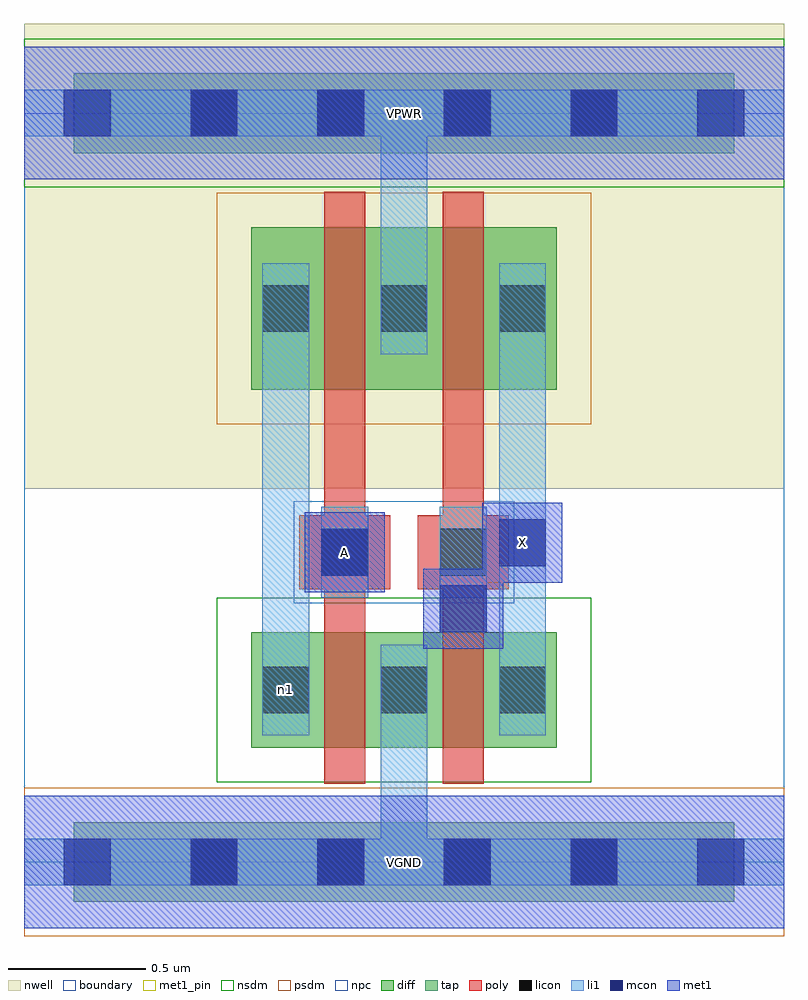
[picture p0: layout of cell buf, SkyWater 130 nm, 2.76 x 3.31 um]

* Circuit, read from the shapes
.subckt buf A VGND VPWR X n1
XM1 VGND A n1 VGND sky130_fd_pr__nfet_01v8 w=0.42 l=0.15
XM2 X X VGND VGND sky130_fd_pr__nfet_01v8 w=0.42 l=0.15
XM3 VPWR A n1 VPWR sky130_fd_pr__pfet_01v8 w=0.59 l=0.15
XM4 X X VPWR VPWR sky130_fd_pr__pfet_01v8 w=0.59 l=0.15
.ends

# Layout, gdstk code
import gdstk
lib = gdstk.Library(unit=1e-6, precision=1e-09)
def R(c, l, rs):  # rectangles x0, y0, x1, y1
    for r in rs: c.add(gdstk.rectangle(r[:2], r[2:], *l))
def A(c, l, x, y, w, h, nx, ny, dx, dy):  # array of equal rectangles
    R(c, l, [(x+i*dx, y+j*dy, x+i*dx+w, y+j*dy+h) for i in range(nx) for j in range(ny)])
nwell = (64, 20)
diff = (65, 20)
tap = (65, 44)
poly = (66, 20)
licon = (66, 44)
li1 = (67, 20)
mcon = (67, 44)
met1_pin = (68, 16)
met1 = (68, 20)
nsdm = (93, 44)
psdm = (94, 20)
npc = (95, 20)
boundary = (235, 4)

buf = lib.new_cell('buf')
R(buf, nwell, [(0,1.355,2.76,3.045)])
R(buf, diff, [(0.825,0.415,1.935,0.835), (0.825,1.715,1.935,2.305)])
R(buf, tap, [(0.18,-0.145,2.58,0.145), (0.18,2.575,2.58,2.865)])
R(buf, poly, [(1.09,0.285,1.24,2.435), (1.52,0.285,1.67,2.435), (1,0.99,1.33,1.26), (1.43,0.99,1.76,1.26)])
A(buf, licon, 0.605, -0.085, 0.17, 0.17, 4, 2, 0.46, 2.72)
A(buf, licon, 0.865, 0.54, 0.17, 0.17, 3, 2, 0.43, 1.385)
R(buf, licon, [(1.08,1.04,1.25,1.21), (1.51,1.04,1.68,1.21)])
A(buf, li1, 0.865, 0.46, 0.17, 0.33, 3, 2, 0.43, 1.385)
R(buf, li1, [(0,-0.085,2.76,0.085), (1.295,-0.085,1.465,0.79), (0.865,0.46,1.035,2.175), (1.725,0.46,1.895,2.175), (1.08,0.96,1.25,1.29), (1.51,0.96,1.68,1.29), (1.295,1.845,1.465,2.805), (0,2.635,2.76,2.805)])
A(buf, mcon, 0.145, -0.085, 0.17, 0.17, 6, 2, 0.46, 2.72)
R(buf, mcon, [(1.51,0.835,1.68,1.005), (1.08,1.04,1.25,1.21), (1.725,1.075,1.895,1.245)])
R(buf, met1_pin, [(0,-0.24,2.76,0.24), (1.02,0.98,1.31,1.27), (1.665,1.015,1.955,1.305), (0,2.48,2.76,2.96)])
R(buf, met1, [(0,-0.24,2.76,0.24), (1.45,0.775,1.74,1.065), (1.02,0.98,1.31,1.27), (1.665,1.015,1.955,1.305), (0,2.48,2.76,2.96)])
R(buf, nsdm, [(0.7,0.29,2.06,0.96), (0,2.45,2.76,2.99)])
R(buf, psdm, [(0,-0.27,2.76,0.27), (0.7,1.59,2.06,2.43)])
R(buf, npc, [(0.98,0.94,1.78,1.31)])
R(buf, boundary, [(0,0,2.76,2.72)])
buf.add(gdstk.Label('n1', (0.95,0.625), layer=67, texttype=5))
buf.add(gdstk.Label('A', (1.165,1.125), layer=68, texttype=5))
buf.add(gdstk.Label('X', (1.81,1.16), layer=68, texttype=5))
buf.add(gdstk.Label('VPWR', (1.38,2.72), layer=68, texttype=5))
buf.add(gdstk.Label('VGND', (1.38,0), layer=68, texttype=5))
buf.add(gdstk.Label('A', (1.165,1.125), layer=68, texttype=16))
buf.add(gdstk.Label('X', (1.81,1.16), layer=68, texttype=16))
buf.add(gdstk.Label('VPWR', (1.38,2.72), layer=68, texttype=16))
buf.add(gdstk.Label('VGND', (1.38,0), layer=68, texttype=16))

lib.write_gds('buf.gds')
